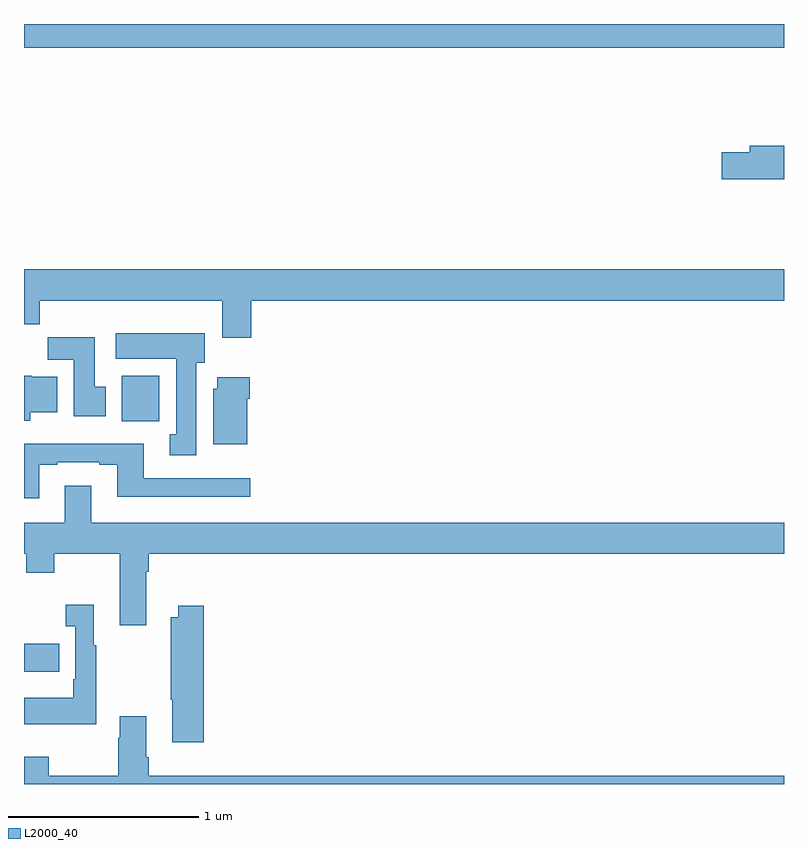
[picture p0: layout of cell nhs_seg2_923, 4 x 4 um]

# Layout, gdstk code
import gdstk
lib = gdstk.Library(unit=1e-6, precision=1e-09)
def R(c, l, rs):  # rectangles x0, y0, x1, y1
    for r in rs: c.add(gdstk.rectangle(r[:2], r[2:], *l))
def P(c, l, *ps):  # polygons
    for p in ps: c.add(gdstk.Polygon(p, *l))
L2000_40 = (2000, 40)

nhs_seg2_923 = lib.new_cell('nhs_seg2_923')
R(nhs_seg2_923, L2000_40, [(159,604.391,159.185,604.539), (159.515,605.708,159.712,605.95), (159,607.676,163,607.8)])
P(nhs_seg2_923, L2000_40, [(163,607.16),(162.821,607.16),(162.821,607.124),(162.672,607.124),(162.672,606.982),(163,606.982)],
  [(160.196,606.344),(163,606.344),(163,606.508),(159,606.508),(159,606.22),(159.083,606.22),(159.083,606.344),(160.043,606.344),(160.043,606.15),(160.196,606.15)],
  [(159.907,606.018),(159.952,606.018),(159.952,606.172),(159.483,606.172),(159.483,606.038),(159.8,606.038),(159.8,605.642),(159.767,605.642),(159.767,605.529),(159.907,605.529)],
  [(159.43,605.892),(159.373,605.892),(159.373,606.151),(159.124,606.151),(159.124,606.032),(159.263,606.032),(159.263,605.736),(159.43,605.736)],
  [(159.034,605.756),(159.175,605.756),(159.175,605.944),(159.042,605.944),(159.042,605.95),(159,605.95),(159,605.712),(159.034,605.712)],
  [(160.174,605.828),(160.187,605.828),(160.187,605.941),(160.016,605.941),(160.016,605.88),(159.995,605.88),(159.995,605.588),(160.174,605.588)],
  [(159.079,605.481),(159.175,605.481),(159.175,605.493),(159.395,605.493),(159.395,605.481),(159.491,605.481),(159.491,605.312),(160.192,605.312),(160.192,605.409),(159.631,605.409),(159.631,605.59),(159,605.59),(159,605.304),(159.079,605.304)],
  [(159.643,604.916),(159.656,604.916),(159.656,605.012),(163,605.012),(163,605.176),(159.355,605.176),(159.355,605.371),(159.215,605.371),(159.215,605.176),(159,605.176),(159,605.012),(159.011,605.012),(159.011,604.913),(159.159,604.913),(159.159,605.012),(159.503,605.012),(159.503,604.635),(159.643,604.635)],
  [(159.379,604.531),(159.367,604.531),(159.367,604.744),(159.219,604.744),(159.219,604.631),(159.27,604.631),(159.27,604.351),(159.258,604.351),(159.258,604.255),(159.001,604.255),(159.001,604.115),(159.379,604.115)],
  [(159.947,604.738),(159.812,604.738),(159.812,604.678),(159.772,604.678),(159.772,604.243),(159.779,604.243),(159.779,604.02),(159.947,604.02)],
  [(163,603.844),(159.656,603.844),(159.656,603.94),(159.643,603.94),(159.643,604.156),(159.503,604.156),(159.503,604.043),(159.496,604.043),(159.496,603.844),(159.129,603.844),(159.129,603.943),(159,603.943),(159,603.8),(163,603.8)])

lib.write_gds('nhs_seg2_923.gds')
